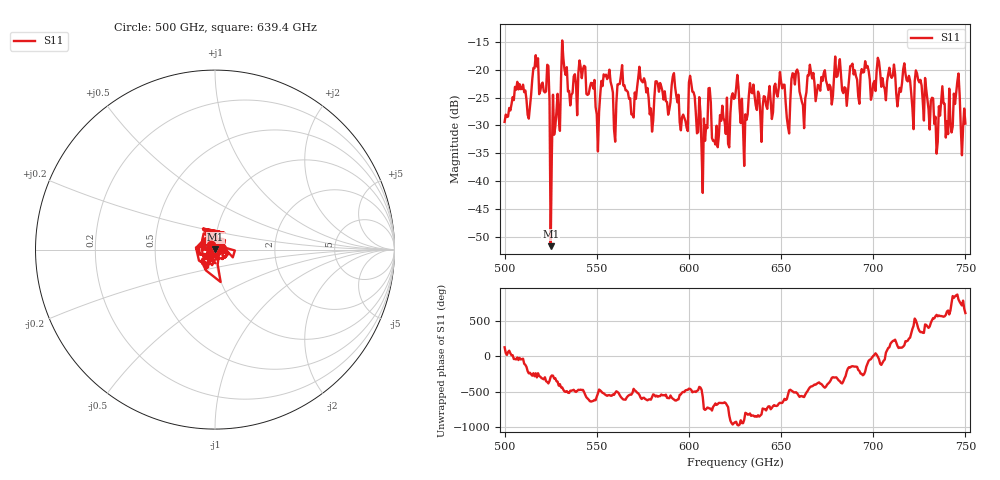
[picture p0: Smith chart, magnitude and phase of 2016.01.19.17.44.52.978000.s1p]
!Created with skrf (http://scikit-rf.org).
# GHz S RI R 50.0
!freq ReS11 ImS11
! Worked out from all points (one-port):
!   401 points, 500 GHz to 750 GHz, reference 50 ohm
!   lowest |S11| = -51.7 dB at 525 GHz (marker M1), VSWR 1.01, Z = 50.1 + j0.243 ohm
!   |S11| at or under -10 dB: start of sweep to end of sweep
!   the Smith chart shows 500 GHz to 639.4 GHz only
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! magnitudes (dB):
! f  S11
! 500 GHz  -29.4
! 513.1 GHz  -28.8
! 516.9 GHz  -17.4
! 523.1 GHz  -19.1
! 525 GHz  -51.7
! 526.2 GHz  -24.5
! 531.2 GHz  -14.7
! 542.5 GHz  -19.9
! 550.6 GHz  -34.7
! 553.8 GHz  -20.8
! 562.5 GHz  -22.6
! 593.8 GHz  -25.9
! 598.1 GHz  -29.2
! 601.2 GHz  -22.4
! 608.1 GHz  -28.8
! 610.6 GHz  -23.3
! 614.4 GHz  -33.5
! 625 GHz  -25.0
! 630.6 GHz  -28.0
! 633.8 GHz  -24.0
! 650.6 GHz  -23.4
! 653.8 GHz  -30.3
! 656.2 GHz  -20.6
! 687.5 GHz  -19.4
! 718.8 GHz  -22.1
! 734.4 GHz  -35.1
! 745 GHz  -24.1
! 750 GHz  -29.7
